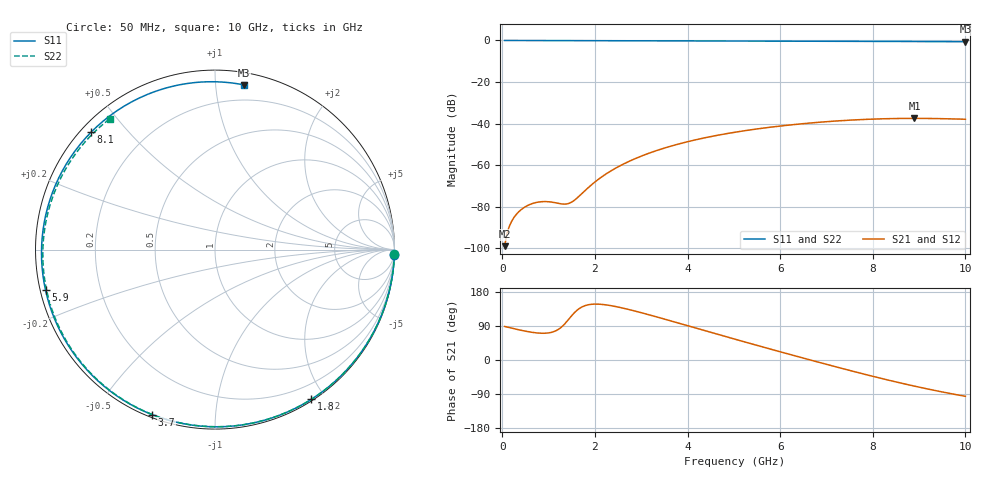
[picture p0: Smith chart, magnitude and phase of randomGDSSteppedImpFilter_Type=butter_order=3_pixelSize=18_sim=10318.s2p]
! freq	dB(S11)	phase(S11)	dB(S12)	phase(S12)
!  dB(S21)	phase(S21)	dB(S22)	phase(S22)
!S-par simulation data
#  GHz  S  DB  R 50
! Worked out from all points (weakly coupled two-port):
!   200 points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, 50 MHz to 10 GHz, reference 50 ohm
!   highest |S21| = -37.47 dB at 8.9 GHz (marker M1); lowest = -98.9 dB at 50 MHz (marker M2)
!   lowest |S11| = -0.6 dB at 10 GHz (marker M3), VSWR 28.30, Z = 4.27 + j59.4 ohm
!   |S11| at or under -10 dB: nowhere
!   |S22| runs from -0.6 to 0.0 dB; largest |S21 - S12| = 0
!   S11 on the Smith chart (normalised r, x): 50 MHz: 0, -69; 1.8 GHz: 0.02, -1.83; 3.7 GHz: 0.01, -0.69; 5.9 GHz: 0.02, -0.12; 8.1 GHz: 0.03, +0.40; 10 GHz: 0.09, +1.19
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0.05  -0.00 -1.7  -98.91 88.5  -98.91 88.5  -0.00 -1.4
0.5  -0.02 -16.3  -79.94 76.1  -79.94 76.1  -0.02 -14.1
0.7  -0.03 -22.8  -78.09 72.1  -78.09 72.1  -0.03 -19.7
0.9  -0.04 -29.2  -77.48 70.6  -77.48 70.6  -0.03 -25.2
1.4  -0.06 -45.0  -78.59 102.4  -78.59 102.4  -0.05 -38.9
1.55  -0.06 -49.6  -76.96 123.9  -76.96 123.9  -0.05 -43.0
1.75  -0.07 -55.8  -72.96 141.7  -72.96 141.7  -0.06 -48.3
1.8  -0.07 -57.3  -71.92 143.9  -71.92 143.9  -0.06 -49.6
2.15  -0.08 -67.7  -65.55 146.7  -65.55 146.7  -0.07 -58.7
2.5  -0.10 -78.0  -60.76 139.8  -60.76 139.8  -0.08 -67.6
3.4  -0.13 -103.0  -52.45 111.5  -52.45 111.5  -0.11 -89.5
3.7  -0.14 -111.0  -50.44 101.1  -50.44 101.1  -0.12 -96.5
4.4  -0.17 -129.1  -46.68 76.6  -46.68 76.6  -0.15 -112.2
5.05  -0.20 -145.5  -44.03 54.0  -44.03 54.0  -0.18 -126.3
5.9  -0.26 -166.5  -41.42 25.1  -41.42 25.1  -0.23 -144.0
6.7  -0.32 173.4  -39.60 -1.6  -39.60 -1.6  -0.29 -160.3
7.4  -0.37 155.4  -38.45 -24.3  -38.45 -24.3  -0.34 -174.6
8.1  -0.44 136.5  -37.74 -46.1  -37.74 -46.1  -0.40 170.9
8.35  -0.46 129.5  -37.60 -53.5  -37.60 -53.5  -0.42 165.6
8.9  -0.51 113.7  -37.47 -69.0  -37.47 -69.0  -0.48 153.8
9.45  -0.56 97.1  -37.59 -83.1  -37.59 -83.1  -0.53 141.5
10  -0.61 80.0  -37.89 -95.8  -37.89 -95.8  -0.58 128.8
